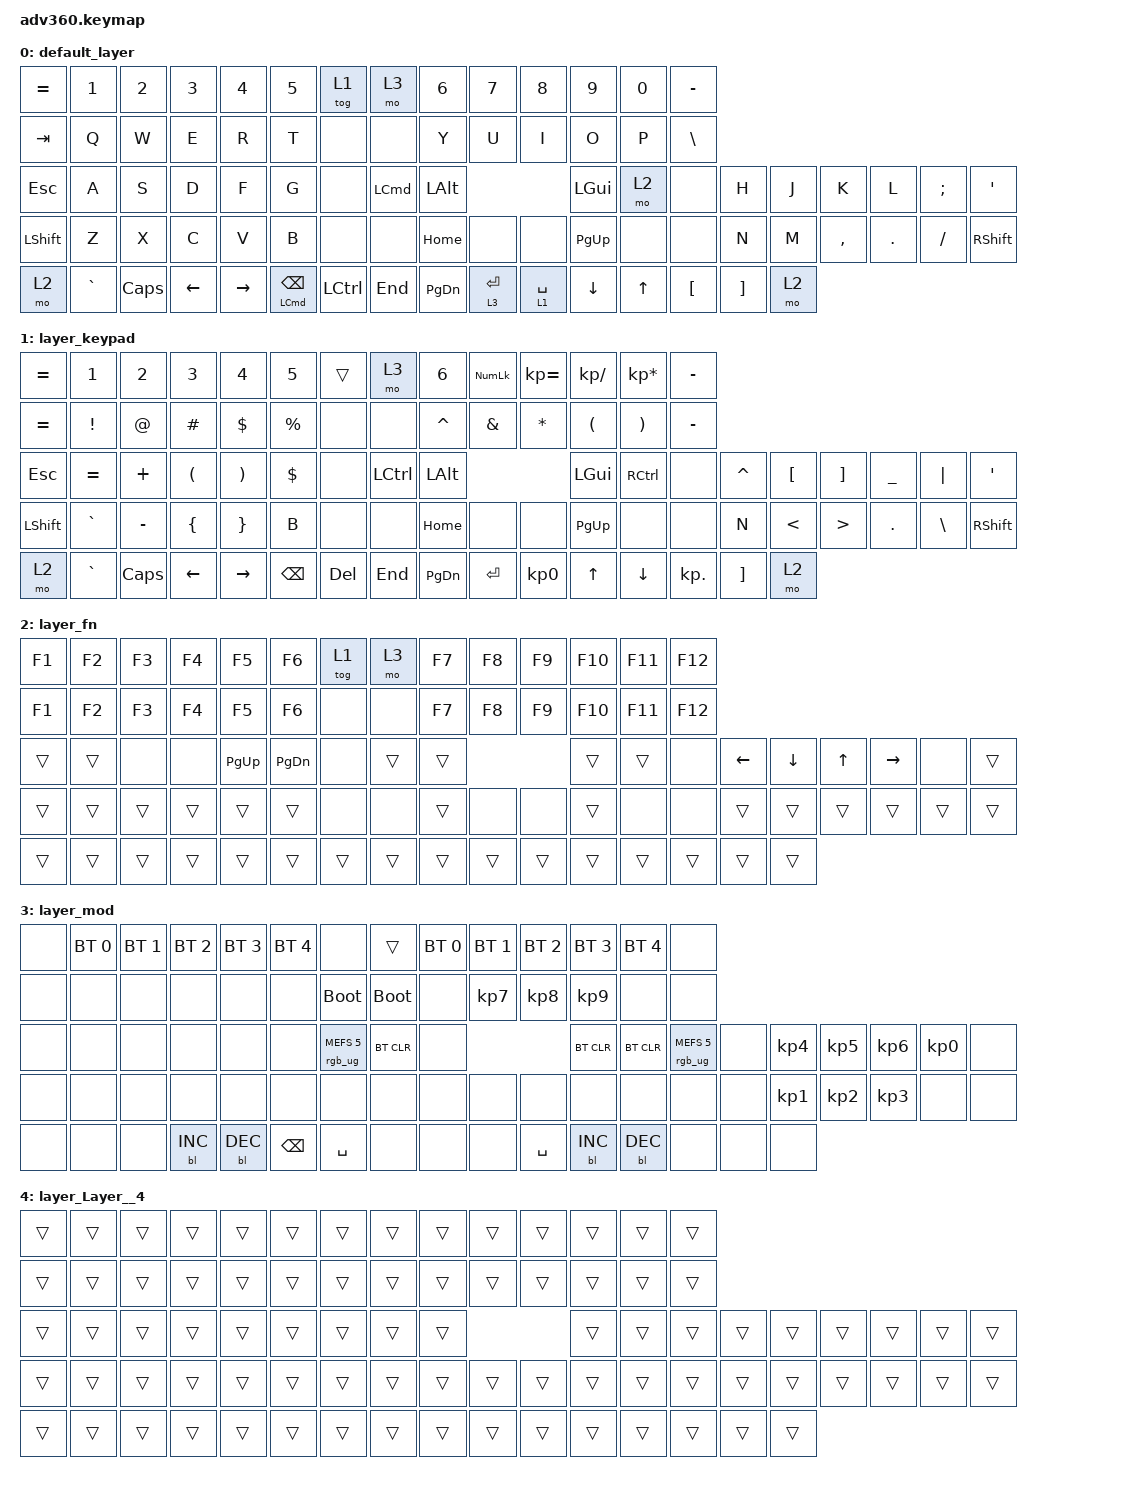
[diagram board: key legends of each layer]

/*
 * Copyright (c) 2020 The ZMK Contributors
 *
 * SPDX-License-Identifier: MIT
 */


/* THIS FILE WAS GENERATED!
 *
 * This file was generated automatically. You may or may not want to
 * edit it directly.
 */

#include <behaviors.dtsi>
#include <dt-bindings/zmk/keys.h>
#include <dt-bindings/zmk/bt.h>
#include <dt-bindings/zmk/rgb.h>
#include <dt-bindings/zmk/backlight.h>

/ {
  behaviors {
    #include "macros.dtsi"

    hm: homerow_mods {
        compatible = "zmk,behavior-hold-tap";
        label = "HOMEROW_MODS";
        #binding-cells = <2>;
        tapping-term-ms = <200>;
        quick_tap_ms = <175>;
        flavor = "tap-preferred";
        bindings = <&kp>, <&kp>;
    };
  };

    keymap {
        compatible = "zmk,keymap";


        default_layer {
            bindings = <
 &kp EQUAL     &kp N1    &kp N2    &kp N3     &kp N4                      &kp N5               &tog 1             &mo 3     &kp N6        &kp N7       &kp N8     &kp N9  &kp N0  &kp MINUS
   &kp TAB      &kp Q     &kp W     &kp E      &kp R                       &kp T                &none             &none      &kp Y         &kp U        &kp I      &kp O   &kp P   &kp BSLH
   &kp ESC      &kp A     &kp S     &kp D      &kp F                       &kp G                &none  &kp LEFT_COMMAND   &kp LALT                              &kp LGUI   &mo 2      &none     &kp H   &kp J      &kp K    &kp L  &kp SEMI    &kp SQT
 &kp LSHFT      &kp Z     &kp X     &kp C      &kp V                       &kp B                &none             &none   &kp HOME         &none        &none  &kp PG_UP   &none      &none     &kp N   &kp M  &kp COMMA  &kp DOT  &kp FSLH  &kp RSHFT
     &mo 2  &kp GRAVE  &kp CAPS  &kp LEFT  &kp RIGHT  &mt LEFT_COMMAND BACKSPACE            &kp LCTRL           &kp END  &kp PG_DN  &lt 3 RETURN  &lt 1 SPACE   &kp DOWN  &kp UP   &kp LBKT  &kp RBKT   &mo 2
            >;
        };

        layer_keypad {
            bindings = <
 &kp EQUAL           &kp N1       &kp N2                &kp N3                 &kp N4      &kp N5             &trans      &mo 3     &kp N6     &kp KP_NUM  &kp KP_EQUAL         &kp KP_DIVIDE        &kp KP_MULTIPLY   &kp MINUS
 &kp EQUAL  &kp EXCLAMATION  &kp AT_SIGN              &kp HASH               &kp DLLR   &kp PRCNT              &none      &none  &kp CARET  &kp AMPERSAND      &kp STAR  &kp LEFT_PARENTHESIS  &kp RIGHT_PARENTHESIS   &kp MINUS
   &kp ESC        &kp EQUAL     &kp PLUS  &kp LEFT_PARENTHESIS  &kp RIGHT_PARENTHESIS  &kp DOLLAR              &none  &kp LCTRL   &kp LALT                                           &kp LGUI              &kp RCTRL       &none  &kp CARET  &kp LEFT_BRACKET  &kp RIGHT_BRACKET  &kp UNDERSCORE       &kp PIPE    &kp SQT
 &kp LSHFT        &kp GRAVE    &kp MINUS        &kp LEFT_BRACE        &kp RIGHT_BRACE       &kp B              &none      &none   &kp HOME          &none         &none             &kp PG_UP                  &none       &none      &kp N            &kp LT             &kp GT      &kp PERIOD  &kp BACKSLASH  &kp RSHFT
     &mo 2        &kp GRAVE     &kp CAPS              &kp LEFT              &kp RIGHT    &kp BSPC            &kp DEL    &kp END  &kp PG_DN      &kp ENTER     &kp KP_N0                &kp UP               &kp DOWN  &kp KP_DOT   &kp RBKT             &mo 2
            >;
        };

        layer_fn {
            bindings = <
 &kp F1  &kp F2  &kp F3  &kp F4       &kp F5         &kp F6            &tog 1   &mo 3  &kp F7  &kp F8  &kp F9  &kp F10  &kp F11  &kp F12
 &kp F1  &kp F2  &kp F3  &kp F4       &kp F5         &kp F6             &none   &none  &kp F7  &kp F8  &kp F9  &kp F10  &kp F11  &kp F12
 &trans  &trans   &none   &none  &kp PAGE_UP  &kp PAGE_DOWN             &none  &trans  &trans                   &trans   &trans    &none  &kp LEFT  &kp DOWN  &kp UP  &kp RIGHT   &none  &trans
 &trans  &trans  &trans  &trans       &trans         &trans             &none   &none  &trans   &none   &none   &trans    &none    &none    &trans    &trans  &trans     &trans  &trans  &trans
 &trans  &trans  &trans  &trans       &trans         &trans            &trans  &trans  &trans  &trans  &trans   &trans   &trans   &trans    &trans    &trans
            >;
        };

        layer_mod {
            bindings = <
  &none  &bt BT_SEL 0  &bt BT_SEL 1  &bt BT_SEL 2  &bt BT_SEL 3  &bt BT_SEL 4                             &none       &trans  &bt BT_SEL 0     &bt BT_SEL 1     &bt BT_SEL 2     &bt BT_SEL 3  &bt BT_SEL 4                   &none
  &none         &none         &none         &none         &none         &none                       &bootloader  &bootloader         &none  &kp KP_NUMBER_7  &kp KP_NUMBER_8  &kp KP_NUMBER_9         &none                   &none
  &none         &none         &none         &none         &none         &none            &rgb_ug RGB_MEFS_CMD 5   &bt BT_CLR         &none                                         &bt BT_CLR    &bt BT_CLR  &rgb_ug RGB_MEFS_CMD 5   &none  &kp KP_NUMBER_4  &kp KP_NUMBER_5  &kp KP_NUMBER_6  &kp KP_NUMBER_0   &none
  &none         &none         &none         &none         &none         &none                             &none        &none         &none            &none            &none            &none         &none                   &none   &none  &kp KP_NUMBER_1  &kp KP_NUMBER_2  &kp KP_NUMBER_3            &none   &none
  &none         &none         &none    &bl BL_INC    &bl BL_DEC      &kp BSPC                         &kp SPACE        &none         &none            &none        &kp SPACE       &bl BL_INC    &bl BL_DEC                   &none   &none            &none
            >;
        };

        layer_Layer__4 {
            bindings = <
 &trans  &trans  &trans  &trans  &trans  &trans            &trans  &trans  &trans  &trans  &trans  &trans  &trans  &trans
 &trans  &trans  &trans  &trans  &trans  &trans            &trans  &trans  &trans  &trans  &trans  &trans  &trans  &trans
 &trans  &trans  &trans  &trans  &trans  &trans            &trans  &trans  &trans                  &trans  &trans  &trans  &trans  &trans  &trans  &trans  &trans  &trans
 &trans  &trans  &trans  &trans  &trans  &trans            &trans  &trans  &trans  &trans  &trans  &trans  &trans  &trans  &trans  &trans  &trans  &trans  &trans  &trans
 &trans  &trans  &trans  &trans  &trans  &trans            &trans  &trans  &trans  &trans  &trans  &trans  &trans  &trans  &trans  &trans
            >;
        };

    };
};
